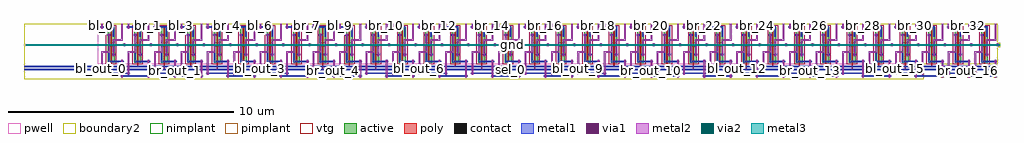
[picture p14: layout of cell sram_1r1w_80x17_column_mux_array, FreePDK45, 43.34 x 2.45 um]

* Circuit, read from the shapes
.subckt sram_1r1w_80x17_column_mux_array bl_0 bl_1 bl_10 bl_11 bl_12 bl_13 bl_14 bl_15 bl_16 bl_17 bl_18 bl_19 bl_2 bl_20 bl_21 bl_22 bl_23 bl_24 bl_25 bl_26 bl_27 bl_28 bl_29 bl_3 bl_30 bl_31 bl_32 bl_33 bl_4 bl_5 bl_6 bl_7 bl_8 bl_9 bl_out_0 bl_out_1 bl_out_10 bl_out_11 bl_out_12 bl_out_13 bl_out_14 bl_out_15 bl_out_16 bl_out_2 bl_out_3 bl_out_4 bl_out_5 bl_out_6 bl_out_7 bl_out_8 bl_out_9 br_0 br_1 br_10 br_11 br_12 br_13 br_14 br_15 br_16 br_17 br_18 br_19 br_2 br_20 br_21 br_22 br_23 br_24 br_25 br_26 br_27 br_28 br_29 br_3 br_30 br_31 br_32 br_33 br_4 br_5 br_6 br_7 br_8 br_9 br_out_0 br_out_1 br_out_10 br_out_11 br_out_12 br_out_13 br_out_14 br_out_15 br_out_16 br_out_2 br_out_3 br_out_4 br_out_5 br_out_6 br_out_7 br_out_8 br_out_9 gnd sel_0 sel_1
M1 br_0 sel_0 br_out_0 gnd nfet w=0.72u l=0.05u
M2 bl_0 sel_0 bl_out_0 gnd nfet w=0.72u l=0.05u
M3 br_1 sel_1 br_out_0 gnd nfet w=0.72u l=0.05u
M4 bl_1 sel_1 bl_out_0 gnd nfet w=0.72u l=0.05u
M5 br_2 sel_0 br_out_1 gnd nfet w=0.72u l=0.05u
M6 bl_2 sel_0 bl_out_1 gnd nfet w=0.72u l=0.05u
M7 br_3 sel_1 br_out_1 gnd nfet w=0.72u l=0.05u
M8 bl_3 sel_1 bl_out_1 gnd nfet w=0.72u l=0.05u
M9 br_4 sel_0 br_out_2 gnd nfet w=0.72u l=0.05u
M10 bl_4 sel_0 bl_out_2 gnd nfet w=0.72u l=0.05u
M11 br_5 sel_1 br_out_2 gnd nfet w=0.72u l=0.05u
M12 bl_5 sel_1 bl_out_2 gnd nfet w=0.72u l=0.05u
M13 br_6 sel_0 br_out_3 gnd nfet w=0.72u l=0.05u
M14 bl_6 sel_0 bl_out_3 gnd nfet w=0.72u l=0.05u
M15 br_7 sel_1 br_out_3 gnd nfet w=0.72u l=0.05u
M16 bl_7 sel_1 bl_out_3 gnd nfet w=0.72u l=0.05u
M17 br_8 sel_0 br_out_4 gnd nfet w=0.72u l=0.05u
M18 bl_8 sel_0 bl_out_4 gnd nfet w=0.72u l=0.05u
M19 br_9 sel_1 br_out_4 gnd nfet w=0.72u l=0.05u
M20 bl_9 sel_1 bl_out_4 gnd nfet w=0.72u l=0.05u
M21 br_10 sel_0 br_out_5 gnd nfet w=0.72u l=0.05u
M22 bl_10 sel_0 bl_out_5 gnd nfet w=0.72u l=0.05u
M23 br_11 sel_1 br_out_5 gnd nfet w=0.72u l=0.05u
M24 bl_11 sel_1 bl_out_5 gnd nfet w=0.72u l=0.05u
M25 br_12 sel_0 br_out_6 gnd nfet w=0.72u l=0.05u
M26 bl_12 sel_0 bl_out_6 gnd nfet w=0.72u l=0.05u
M27 br_13 sel_1 br_out_6 gnd nfet w=0.72u l=0.05u
M28 bl_13 sel_1 bl_out_6 gnd nfet w=0.72u l=0.05u
M29 br_14 sel_0 br_out_7 gnd nfet w=0.72u l=0.05u
M30 bl_14 sel_0 bl_out_7 gnd nfet w=0.72u l=0.05u
M31 br_15 sel_1 br_out_7 gnd nfet w=0.72u l=0.05u
M32 bl_15 sel_1 bl_out_7 gnd nfet w=0.72u l=0.05u
M33 br_16 sel_0 br_out_8 gnd nfet w=0.72u l=0.05u
M34 bl_16 sel_0 bl_out_8 gnd nfet w=0.72u l=0.05u
M35 br_17 sel_1 br_out_8 gnd nfet w=0.72u l=0.05u
M36 bl_17 sel_1 bl_out_8 gnd nfet w=0.72u l=0.05u
M37 br_18 sel_0 br_out_9 gnd nfet w=0.72u l=0.05u
M38 bl_18 sel_0 bl_out_9 gnd nfet w=0.72u l=0.05u
M39 br_19 sel_1 br_out_9 gnd nfet w=0.72u l=0.05u
M40 bl_19 sel_1 bl_out_9 gnd nfet w=0.72u l=0.05u
M41 br_20 sel_0 br_out_10 gnd nfet w=0.72u l=0.05u
M42 bl_20 sel_0 bl_out_10 gnd nfet w=0.72u l=0.05u
M43 br_21 sel_1 br_out_10 gnd nfet w=0.72u l=0.05u
M44 bl_21 sel_1 bl_out_10 gnd nfet w=0.72u l=0.05u
M45 br_22 sel_0 br_out_11 gnd nfet w=0.72u l=0.05u
M46 bl_22 sel_0 bl_out_11 gnd nfet w=0.72u l=0.05u
M47 br_23 sel_1 br_out_11 gnd nfet w=0.72u l=0.05u
M48 bl_23 sel_1 bl_out_11 gnd nfet w=0.72u l=0.05u
M49 br_24 sel_0 br_out_12 gnd nfet w=0.72u l=0.05u
M50 bl_24 sel_0 bl_out_12 gnd nfet w=0.72u l=0.05u
M51 br_25 sel_1 br_out_12 gnd nfet w=0.72u l=0.05u
M52 bl_25 sel_1 bl_out_12 gnd nfet w=0.72u l=0.05u
M53 br_26 sel_0 br_out_13 gnd nfet w=0.72u l=0.05u
M54 bl_26 sel_0 bl_out_13 gnd nfet w=0.72u l=0.05u
M55 br_27 sel_1 br_out_13 gnd nfet w=0.72u l=0.05u
M56 bl_27 sel_1 bl_out_13 gnd nfet w=0.72u l=0.05u
M57 br_28 sel_0 br_out_14 gnd nfet w=0.72u l=0.05u
M58 bl_28 sel_0 bl_out_14 gnd nfet w=0.72u l=0.05u
M59 br_29 sel_1 br_out_14 gnd nfet w=0.72u l=0.05u
M60 bl_29 sel_1 bl_out_14 gnd nfet w=0.72u l=0.05u
M61 br_30 sel_0 br_out_15 gnd nfet w=0.72u l=0.05u
M62 bl_30 sel_0 bl_out_15 gnd nfet w=0.72u l=0.05u
M63 br_31 sel_1 br_out_15 gnd nfet w=0.72u l=0.05u
M64 bl_31 sel_1 bl_out_15 gnd nfet w=0.72u l=0.05u
M65 br_32 sel_0 br_out_16 gnd nfet w=0.72u l=0.05u
M66 bl_32 sel_0 bl_out_16 gnd nfet w=0.72u l=0.05u
M67 br_33 sel_1 br_out_16 gnd nfet w=0.72u l=0.05u
M68 bl_33 sel_1 bl_out_16 gnd nfet w=0.72u l=0.05u
.ends

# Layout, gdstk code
import gdstk
lib = gdstk.Library(unit=1e-6, precision=5e-10)
def R(c, l, rs):  # rectangles x0, y0, x1, y1
    for r in rs: c.add(gdstk.rectangle(r[:2], r[2:], *l))
def A(c, l, x, y, w, h, nx, ny, dx, dy):  # array of equal rectangles
    R(c, l, [(x+i*dx, y+j*dy, x+i*dx+w, y+j*dy+h) for i in range(nx) for j in range(ny)])
active = (1, 0)
pwell = (2, 0)
nimplant = (4, 0)
pimplant = (5, 0)
vtg = (6, 0)
poly = (9, 0)
contact = (10, 0)
metal1 = (11, 0)
via1 = (12, 0)
metal2 = (13, 0)
via2 = (14, 0)
metal3 = (15, 0)
boundary2 = (239, 0)

sram_1r1w_80x17_contact_ = lib.new_cell('sram_1r1w_80x17_contact_10')
R(sram_1r1w_80x17_contact_, active, [(0,0.0225,0.09,0.1125)])
R(sram_1r1w_80x17_contact_, pwell, [(-0.055,-0.0325,0.145,0.1675)])
R(sram_1r1w_80x17_contact_, nimplant, [(0,0.0225,0.09,0.1125)])
R(sram_1r1w_80x17_contact_, contact, [(0.0125,0.035,0.0775,0.1)])
R(sram_1r1w_80x17_contact_, metal1, [(0.0125,0,0.0775,0.135)])
R(sram_1r1w_80x17_contact_, boundary2, [(-0.055,-0.0325,0.145,0.1675)])

sram_1r1w_80x17_nmos_m1_ = lib.new_cell('sram_1r1w_80x17_nmos_m1_w0_720_sm1_dm1')
R(sram_1r1w_80x17_nmos_m1_, active, [(0,0,0.305,0.72)])
R(sram_1r1w_80x17_nmos_m1_, pwell, [(-0.08,-0.08,0.385,0.8)])
R(sram_1r1w_80x17_nmos_m1_, nimplant, [(0,0,0.305,0.72)])
R(sram_1r1w_80x17_nmos_m1_, vtg, [(-0.08,-0.08,0.385,0.8)])
R(sram_1r1w_80x17_nmos_m1_, poly, [(0.1275,-0.055,0.1775,0.775), (0.1275,-0.055,0.1775,0.775)])
R(sram_1r1w_80x17_nmos_m1_, metal1, [(0.0125,0.2925,0.0775,0.4275), (0.2275,0.2925,0.2925,0.4275)])
R(sram_1r1w_80x17_nmos_m1_, boundary2, [(-0.08,-0.08,0.385,0.8)])
sram_1r1w_80x17_nmos_m1_.add(gdstk.Reference(sram_1r1w_80x17_contact_, (0,0.2925)))
sram_1r1w_80x17_nmos_m1_.add(gdstk.Reference(sram_1r1w_80x17_contact_, (0.215,0.2925)))
sram_1r1w_80x17_nmos_m1_.add(gdstk.Label('G', (0.1525,0.36), layer=9, texttype=0))
sram_1r1w_80x17_nmos_m1_.add(gdstk.Label('S', (0.045,0.36), layer=11, texttype=0))
sram_1r1w_80x17_nmos_m1_.add(gdstk.Label('D', (0.26,0.36), layer=11, texttype=0))

c_sram_1r1w_80x17_contact_ = lib.new_cell('sram_1r1w_80x17_contact_17')
R(c_sram_1r1w_80x17_contact_, metal1, [(0,0.035,0.135,0.1)])
R(c_sram_1r1w_80x17_contact_, via1, [(0.035,0.035,0.1,0.1)])
R(c_sram_1r1w_80x17_contact_, metal2, [(0.0325,0,0.1025,0.135)])
R(c_sram_1r1w_80x17_contact_, boundary2, [(0,0,0.135,0.135)])

c_sram_1r1w_80x17_contact__ = lib.new_cell('sram_1r1w_80x17_contact_24')
R(c_sram_1r1w_80x17_contact__, active, [(0.0225,0,0.1125,0.09)])
R(c_sram_1r1w_80x17_contact__, pwell, [(-0.0325,-0.055,0.1675,0.145)])
R(c_sram_1r1w_80x17_contact__, pimplant, [(0.0225,0,0.1125,0.09)])
R(c_sram_1r1w_80x17_contact__, contact, [(0.035,0.0125,0.1,0.0775)])
R(c_sram_1r1w_80x17_contact__, metal1, [(0,0.0125,0.135,0.0775)])
R(c_sram_1r1w_80x17_contact__, boundary2, [(-0.0325,-0.055,0.1675,0.145)])

sram_1r1w_80x17_column_m = lib.new_cell('sram_1r1w_80x17_column_mux')
R(sram_1r1w_80x17_column_m, pwell, [(0,0,1.175,1.8)])
R(sram_1r1w_80x17_column_m, poly, [(0.5625,0.025,0.6125,0.08), (0.5625,0.8,0.6125,0.94)])
R(sram_1r1w_80x17_column_m, metal1, [(0.4475,0.1075,0.5125,0.1725), (0.48,0.1075,1.07,0.1725), (0.4475,0.14,0.5125,0.44), (1.1425,0.8375,1.2075,0.9025), (0.6625,1.3,0.7275,1.66), (0.14,1.6275,0.695,1.6925), (0.6625,1.6275,0.7275,1.6925)])
R(sram_1r1w_80x17_column_m, metal2, [(0.14,0,0.21,0.14), (1.035,0,1.105,0.14), (0.14,0.14,0.21,0.55), (0.66,0.44,0.73,1.085), (0.14,0.515,0.21,0.585), (0.175,0.515,0.48,0.585), (0.445,0.515,0.515,0.585), (0.445,0.55,0.515,1.3), (0.66,1.05,0.73,1.12), (0.695,1.05,1.07,1.12), (1.035,1.05,1.105,1.12), (1.035,1.085,1.105,1.66), (0.14,1.66,0.21,1.8), (1.035,1.66,1.105,1.8)])
R(sram_1r1w_80x17_column_m, boundary2, [(0,0,1.175,1.8)])
sram_1r1w_80x17_column_m.add(gdstk.Reference(sram_1r1w_80x17_nmos_m1_, (0.435,0.08)))
sram_1r1w_80x17_column_m.add(gdstk.Reference(sram_1r1w_80x17_nmos_m1_, (0.435,0.94)))
sram_1r1w_80x17_column_m.add(gdstk.Reference(c_sram_1r1w_80x17_contact_, (0.1075,1.5925)))
sram_1r1w_80x17_column_m.add(gdstk.Reference(c_sram_1r1w_80x17_contact_, (1.0025,0.0725)))
sram_1r1w_80x17_column_m.add(gdstk.Reference(c_sram_1r1w_80x17_contact_, (0.4125,1.2325)))
sram_1r1w_80x17_column_m.add(gdstk.Reference(c_sram_1r1w_80x17_contact_, (0.6275,0.3725)))
sram_1r1w_80x17_column_m.add(gdstk.Reference(c_sram_1r1w_80x17_contact__, (1.1075,0.825)))
sram_1r1w_80x17_column_m.add(gdstk.Reference(c_sram_1r1w_80x17_contact_, (1.1075,0.8025)))
sram_1r1w_80x17_column_m.add(gdstk.Label('sel', (0.5875,0.0525), layer=9, texttype=0))
sram_1r1w_80x17_column_m.add(gdstk.Label('bl', (0.175,1.73), layer=13, texttype=0))
sram_1r1w_80x17_column_m.add(gdstk.Label('br', (1.07,1.73), layer=13, texttype=0))
sram_1r1w_80x17_column_m.add(gdstk.Label('bl_out', (0.175,0.07), layer=13, texttype=0))
sram_1r1w_80x17_column_m.add(gdstk.Label('br_out', (1.07,0.07), layer=13, texttype=0))
sram_1r1w_80x17_column_m.add(gdstk.Label('gnd', (1.175,0.87), layer=11, texttype=0))

c_sram_1r1w_80x17_contact___ = lib.new_cell('sram_1r1w_80x17_contact_25')
R(c_sram_1r1w_80x17_contact___, poly, [(0.03,0,0.105,0.075)])
R(c_sram_1r1w_80x17_contact___, contact, [(0.035,0.005,0.1,0.07)])
R(c_sram_1r1w_80x17_contact___, metal1, [(0,0.005,0.135,0.07)])
R(c_sram_1r1w_80x17_contact___, boundary2, [(0,0,0.135,0.075)])

c_sram_1r1w_80x17_contact____ = lib.new_cell('sram_1r1w_80x17_contact_15')
R(c_sram_1r1w_80x17_contact____, metal1, [(0,0.035,0.135,0.1)])
R(c_sram_1r1w_80x17_contact____, via1, [(0.035,0.035,0.1,0.1)])
R(c_sram_1r1w_80x17_contact____, metal2, [(0.0325,0,0.1025,0.135)])
R(c_sram_1r1w_80x17_contact____, boundary2, [(0,0,0.135,0.135)])

c_sram_1r1w_80x17_contact_____ = lib.new_cell('sram_1r1w_80x17_contact_18')
R(c_sram_1r1w_80x17_contact_____, metal2, [(0.0325,0,0.1025,0.135)])
R(c_sram_1r1w_80x17_contact_____, via2, [(0.035,0.035,0.1,0.1)])
R(c_sram_1r1w_80x17_contact_____, metal3, [(0,0.0325,0.135,0.1025)])
R(c_sram_1r1w_80x17_contact_____, boundary2, [(0,0,0.135,0.135)])

c_sram_1r1w_80x17_column_m = lib.new_cell('sram_1r1w_80x17_column_mux_array')
R(c_sram_1r1w_80x17_column_m, pwell, [(3.285,0.65,43.235,2.45)])
A(c_sram_1r1w_80x17_column_m, poly, 3.8475, 0.3975, 0.05, 0.05, 17, 1, 2.35, 0)
A(c_sram_1r1w_80x17_column_m, poly, 3.8725, 0.3975, 0.035, 0.05, 17, 1, 2.35, 0)
A(c_sram_1r1w_80x17_column_m, poly, 5.0225, 0.5275, 0.05, 0.05, 17, 1, 2.35, 0)
A(c_sram_1r1w_80x17_column_m, poly, 5.0475, 0.5275, 0.035, 0.05, 17, 1, 2.35, 0)
R(c_sram_1r1w_80x17_column_m, poly, [(3.8475,0.4225,3.8975,0.675), (3.8475,0.4225,3.8975,0.675), (6.1975,0.4225,6.2475,0.675), (6.1975,0.4225,6.2475,0.675), (8.5475,0.4225,8.5975,0.675), (8.5475,0.4225,8.5975,0.675), (10.8975,0.4225,10.9475,0.675), (10.8975,0.4225,10.9475,0.675), (13.2475,0.4225,13.2975,0.675), (13.2475,0.4225,13.2975,0.675), (15.5975,0.4225,15.6475,0.675), (15.5975,0.4225,15.6475,0.675), (17.9475,0.4225,17.9975,0.675), (17.9475,0.4225,17.9975,0.675), (20.2975,0.4225,20.3475,0.675), (20.2975,0.4225,20.3475,0.675), (22.6475,0.4225,22.6975,0.675), (22.6475,0.4225,22.6975,0.675), (24.9975,0.4225,25.0475,0.675), (24.9975,0.4225,25.0475,0.675), (27.3475,0.4225,27.3975,0.675), (27.3475,0.4225,27.3975,0.675), (29.6975,0.4225,29.7475,0.675), (29.6975,0.4225,29.7475,0.675), (32.0475,0.4225,32.0975,0.675), (32.0475,0.4225,32.0975,0.675), (34.3975,0.4225,34.4475,0.675), (34.3975,0.4225,34.4475,0.675), (36.7475,0.4225,36.7975,0.675), (36.7475,0.4225,36.7975,0.675), (39.0975,0.4225,39.1475,0.675), (39.0975,0.4225,39.1475,0.675), (41.4475,0.4225,41.4975,0.675), (41.4475,0.4225,41.4975,0.675), (5.0225,0.5525,5.0725,0.675), (5.0225,0.5525,5.0725,0.675), (7.3725,0.5525,7.4225,0.675), (7.3725,0.5525,7.4225,0.675), (9.7225,0.5525,9.7725,0.675), (9.7225,0.5525,9.7725,0.675), (12.0725,0.5525,12.1225,0.675), (12.0725,0.5525,12.1225,0.675), (14.4225,0.5525,14.4725,0.675), (14.4225,0.5525,14.4725,0.675), (16.7725,0.5525,16.8225,0.675), (16.7725,0.5525,16.8225,0.675), (19.1225,0.5525,19.1725,0.675), (19.1225,0.5525,19.1725,0.675), (21.4725,0.5525,21.5225,0.675), (21.4725,0.5525,21.5225,0.675), (23.8225,0.5525,23.8725,0.675), (23.8225,0.5525,23.8725,0.675), (26.1725,0.5525,26.2225,0.675), (26.1725,0.5525,26.2225,0.675), (28.5225,0.5525,28.5725,0.675), (28.5225,0.5525,28.5725,0.675), (30.8725,0.5525,30.9225,0.675), (30.8725,0.5525,30.9225,0.675), (33.2225,0.5525,33.2725,0.675), (33.2225,0.5525,33.2725,0.675), (35.5725,0.5525,35.6225,0.675), (35.5725,0.5525,35.6225,0.675), (37.9225,0.5525,37.9725,0.675), (37.9225,0.5525,37.9725,0.675), (40.2725,0.5525,40.3225,0.675), (40.2725,0.5525,40.3225,0.675), (42.6225,0.5525,42.6725,0.675), (42.6225,0.5525,42.6725,0.675)])
A(c_sram_1r1w_80x17_column_m, metal1, 4.355, 0.0975, 1.175, 0.065, 17, 1, 2.35, 0)
A(c_sram_1r1w_80x17_column_m, metal1, 3.46, 0.2275, 1.175, 0.065, 17, 1, 2.35, 0)
R(c_sram_1r1w_80x17_column_m, metal1, [(0,0.39,43.235,0.455), (0,0.52,43.235,0.585)])
A(c_sram_1r1w_80x17_column_m, metal2, 4.32, 0.13, 0.07, 0.52, 34, 1, 1.175, 0)
A(c_sram_1r1w_80x17_column_m, metal2, 3.425, 0.26, 0.07, 0.39, 34, 1, 1.175, 0)
R(c_sram_1r1w_80x17_column_m, metal2, [(3.425,2.31,3.495,2.45), (4.32,2.31,4.39,2.45), (4.6,2.31,4.67,2.45), (5.495,2.31,5.565,2.45), (5.775,2.31,5.845,2.45), (6.67,2.31,6.74,2.45), (6.95,2.31,7.02,2.45), (7.845,2.31,7.915,2.45), (8.125,2.31,8.195,2.45), (9.02,2.31,9.09,2.45), (9.3,2.31,9.37,2.45), (10.195,2.31,10.265,2.45), (10.475,2.31,10.545,2.45), (11.37,2.31,11.44,2.45), (11.65,2.31,11.72,2.45), (12.545,2.31,12.615,2.45), (12.825,2.31,12.895,2.45), (13.72,2.31,13.79,2.45), (14,2.31,14.07,2.45), (14.895,2.31,14.965,2.45), (15.175,2.31,15.245,2.45), (16.07,2.31,16.14,2.45), (16.35,2.31,16.42,2.45), (17.245,2.31,17.315,2.45), (17.525,2.31,17.595,2.45), (18.42,2.31,18.49,2.45), (18.7,2.31,18.77,2.45), (19.595,2.31,19.665,2.45), (19.875,2.31,19.945,2.45), (20.77,2.31,20.84,2.45), (21.05,2.31,21.12,2.45), (21.945,2.31,22.015,2.45), (22.225,2.31,22.295,2.45), (23.12,2.31,23.19,2.45), (23.4,2.31,23.47,2.45), (24.295,2.31,24.365,2.45), (24.575,2.31,24.645,2.45), (25.47,2.31,25.54,2.45), (25.75,2.31,25.82,2.45), (26.645,2.31,26.715,2.45), (26.925,2.31,26.995,2.45), (27.82,2.31,27.89,2.45), (28.1,2.31,28.17,2.45), (28.995,2.31,29.065,2.45), (29.275,2.31,29.345,2.45), (30.17,2.31,30.24,2.45), (30.45,2.31,30.52,2.45), (31.345,2.31,31.415,2.45), (31.625,2.31,31.695,2.45), (32.52,2.31,32.59,2.45), (32.8,2.31,32.87,2.45), (33.695,2.31,33.765,2.45), (33.975,2.31,34.045,2.45), (34.87,2.31,34.94,2.45), (35.15,2.31,35.22,2.45), (36.045,2.31,36.115,2.45), (36.325,2.31,36.395,2.45), (37.22,2.31,37.29,2.45), (37.5,2.31,37.57,2.45), (38.395,2.31,38.465,2.45), (38.675,2.31,38.745,2.45), (39.57,2.31,39.64,2.45), (39.85,2.31,39.92,2.45), (40.745,2.31,40.815,2.45), (41.025,2.31,41.095,2.45), (41.92,2.31,41.99,2.45), (42.2,2.31,42.27,2.45), (43.095,2.31,43.165,2.45)])
R(c_sram_1r1w_80x17_column_m, metal3, [(0.0675,1.485,43.335,1.555)])
R(c_sram_1r1w_80x17_column_m, boundary2, [(0,0,39.95,2.45)])
c_sram_1r1w_80x17_column_m.add(gdstk.Reference(sram_1r1w_80x17_column_m, (3.285,0.65)))
c_sram_1r1w_80x17_column_m.add(gdstk.Reference(sram_1r1w_80x17_column_m, (4.46,0.65)))
c_sram_1r1w_80x17_column_m.add(gdstk.Reference(sram_1r1w_80x17_column_m, (5.635,0.65)))
c_sram_1r1w_80x17_column_m.add(gdstk.Reference(sram_1r1w_80x17_column_m, (6.81,0.65)))
c_sram_1r1w_80x17_column_m.add(gdstk.Reference(sram_1r1w_80x17_column_m, (7.985,0.65)))
c_sram_1r1w_80x17_column_m.add(gdstk.Reference(sram_1r1w_80x17_column_m, (9.16,0.65)))
c_sram_1r1w_80x17_column_m.add(gdstk.Reference(sram_1r1w_80x17_column_m, (10.335,0.65)))
c_sram_1r1w_80x17_column_m.add(gdstk.Reference(sram_1r1w_80x17_column_m, (11.51,0.65)))
c_sram_1r1w_80x17_column_m.add(gdstk.Reference(sram_1r1w_80x17_column_m, (12.685,0.65)))
c_sram_1r1w_80x17_column_m.add(gdstk.Reference(sram_1r1w_80x17_column_m, (13.86,0.65)))
c_sram_1r1w_80x17_column_m.add(gdstk.Reference(sram_1r1w_80x17_column_m, (15.035,0.65)))
c_sram_1r1w_80x17_column_m.add(gdstk.Reference(sram_1r1w_80x17_column_m, (16.21,0.65)))
c_sram_1r1w_80x17_column_m.add(gdstk.Reference(sram_1r1w_80x17_column_m, (17.385,0.65)))
c_sram_1r1w_80x17_column_m.add(gdstk.Reference(sram_1r1w_80x17_column_m, (18.56,0.65)))
c_sram_1r1w_80x17_column_m.add(gdstk.Reference(sram_1r1w_80x17_column_m, (19.735,0.65)))
c_sram_1r1w_80x17_column_m.add(gdstk.Reference(sram_1r1w_80x17_column_m, (20.91,0.65)))
c_sram_1r1w_80x17_column_m.add(gdstk.Reference(sram_1r1w_80x17_column_m, (22.085,0.65)))
c_sram_1r1w_80x17_column_m.add(gdstk.Reference(sram_1r1w_80x17_column_m, (23.26,0.65)))
c_sram_1r1w_80x17_column_m.add(gdstk.Reference(sram_1r1w_80x17_column_m, (24.435,0.65)))
c_sram_1r1w_80x17_column_m.add(gdstk.Reference(sram_1r1w_80x17_column_m, (25.61,0.65)))
c_sram_1r1w_80x17_column_m.add(gdstk.Reference(sram_1r1w_80x17_column_m, (26.785,0.65)))
c_sram_1r1w_80x17_column_m.add(gdstk.Reference(sram_1r1w_80x17_column_m, (27.96,0.65)))
c_sram_1r1w_80x17_column_m.add(gdstk.Reference(sram_1r1w_80x17_column_m, (29.135,0.65)))
c_sram_1r1w_80x17_column_m.add(gdstk.Reference(sram_1r1w_80x17_column_m, (30.31,0.65)))
c_sram_1r1w_80x17_column_m.add(gdstk.Reference(sram_1r1w_80x17_column_m, (31.485,0.65)))
c_sram_1r1w_80x17_column_m.add(gdstk.Reference(sram_1r1w_80x17_column_m, (32.66,0.65)))
c_sram_1r1w_80x17_column_m.add(gdstk.Reference(sram_1r1w_80x17_column_m, (33.835,0.65)))
c_sram_1r1w_80x17_column_m.add(gdstk.Reference(sram_1r1w_80x17_column_m, (35.01,0.65)))
c_sram_1r1w_80x17_column_m.add(gdstk.Reference(sram_1r1w_80x17_column_m, (36.185,0.65)))
c_sram_1r1w_80x17_column_m.add(gdstk.Reference(sram_1r1w_80x17_column_m, (37.36,0.65)))
c_sram_1r1w_80x17_column_m.add(gdstk.Reference(sram_1r1w_80x17_column_m, (38.535,0.65)))
c_sram_1r1w_80x17_column_m.add(gdstk.Reference(sram_1r1w_80x17_column_m, (39.71,0.65)))
c_sram_1r1w_80x17_column_m.add(gdstk.Reference(sram_1r1w_80x17_column_m, (40.885,0.65)))
c_sram_1r1w_80x17_column_m.add(gdstk.Reference(sram_1r1w_80x17_column_m, (42.06,0.65)))
c_sram_1r1w_80x17_column_m.add(gdstk.Reference(c_sram_1r1w_80x17_contact___, (3.84,0.385)))
c_sram_1r1w_80x17_column_m.add(gdstk.Reference(c_sram_1r1w_80x17_contact___, (5.015,0.515)))
c_sram_1r1w_80x17_column_m.add(gdstk.Reference(c_sram_1r1w_80x17_contact___, (6.19,0.385)))
c_sram_1r1w_80x17_column_m.add(gdstk.Reference(c_sram_1r1w_80x17_contact___, (7.365,0.515)))
c_sram_1r1w_80x17_column_m.add(gdstk.Reference(c_sram_1r1w_80x17_contact___, (8.54,0.385)))
c_sram_1r1w_80x17_column_m.add(gdstk.Reference(c_sram_1r1w_80x17_contact___, (9.715,0.515)))
c_sram_1r1w_80x17_column_m.add(gdstk.Reference(c_sram_1r1w_80x17_contact___, (10.89,0.385)))
c_sram_1r1w_80x17_column_m.add(gdstk.Reference(c_sram_1r1w_80x17_contact___, (12.065,0.515)))
c_sram_1r1w_80x17_column_m.add(gdstk.Reference(c_sram_1r1w_80x17_contact___, (13.24,0.385)))
c_sram_1r1w_80x17_column_m.add(gdstk.Reference(c_sram_1r1w_80x17_contact___, (14.415,0.515)))
c_sram_1r1w_80x17_column_m.add(gdstk.Reference(c_sram_1r1w_80x17_contact___, (15.59,0.385)))
c_sram_1r1w_80x17_column_m.add(gdstk.Reference(c_sram_1r1w_80x17_contact___, (16.765,0.515)))
c_sram_1r1w_80x17_column_m.add(gdstk.Reference(c_sram_1r1w_80x17_contact___, (17.94,0.385)))
c_sram_1r1w_80x17_column_m.add(gdstk.Reference(c_sram_1r1w_80x17_contact___, (19.115,0.515)))
c_sram_1r1w_80x17_column_m.add(gdstk.Reference(c_sram_1r1w_80x17_contact___, (20.29,0.385)))
c_sram_1r1w_80x17_column_m.add(gdstk.Reference(c_sram_1r1w_80x17_contact___, (21.465,0.515)))
c_sram_1r1w_80x17_column_m.add(gdstk.Reference(c_sram_1r1w_80x17_contact___, (22.64,0.385)))
c_sram_1r1w_80x17_column_m.add(gdstk.Reference(c_sram_1r1w_80x17_contact___, (23.815,0.515)))
c_sram_1r1w_80x17_column_m.add(gdstk.Reference(c_sram_1r1w_80x17_contact___, (24.99,0.385)))
c_sram_1r1w_80x17_column_m.add(gdstk.Reference(c_sram_1r1w_80x17_contact___, (26.165,0.515)))
c_sram_1r1w_80x17_column_m.add(gdstk.Reference(c_sram_1r1w_80x17_contact___, (27.34,0.385)))
c_sram_1r1w_80x17_column_m.add(gdstk.Reference(c_sram_1r1w_80x17_contact___, (28.515,0.515)))
c_sram_1r1w_80x17_column_m.add(gdstk.Reference(c_sram_1r1w_80x17_contact___, (29.69,0.385)))
c_sram_1r1w_80x17_column_m.add(gdstk.Reference(c_sram_1r1w_80x17_contact___, (30.865,0.515)))
c_sram_1r1w_80x17_column_m.add(gdstk.Reference(c_sram_1r1w_80x17_contact___, (32.04,0.385)))
c_sram_1r1w_80x17_column_m.add(gdstk.Reference(c_sram_1r1w_80x17_contact___, (33.215,0.515)))
c_sram_1r1w_80x17_column_m.add(gdstk.Reference(c_sram_1r1w_80x17_contact___, (34.39,0.385)))
c_sram_1r1w_80x17_column_m.add(gdstk.Reference(c_sram_1r1w_80x17_contact___, (35.565,0.515)))
c_sram_1r1w_80x17_column_m.add(gdstk.Reference(c_sram_1r1w_80x17_contact___, (36.74,0.385)))
c_sram_1r1w_80x17_column_m.add(gdstk.Reference(c_sram_1r1w_80x17_contact___, (37.915,0.515)))
c_sram_1r1w_80x17_column_m.add(gdstk.Reference(c_sram_1r1w_80x17_contact___, (39.09,0.385)))
c_sram_1r1w_80x17_column_m.add(gdstk.Reference(c_sram_1r1w_80x17_contact___, (40.265,0.515)))
c_sram_1r1w_80x17_column_m.add(gdstk.Reference(c_sram_1r1w_80x17_contact___, (41.44,0.385)))
c_sram_1r1w_80x17_column_m.add(gdstk.Reference(c_sram_1r1w_80x17_contact___, (42.615,0.515)))
c_sram_1r1w_80x17_column_m.add(gdstk.Reference(c_sram_1r1w_80x17_contact____, (3.3925,0.1925)))
c_sram_1r1w_80x17_column_m.add(gdstk.Reference(c_sram_1r1w_80x17_contact____, (4.2875,0.0625)))
c_sram_1r1w_80x17_column_m.add(gdstk.Reference(c_sram_1r1w_80x17_contact____, (4.5675,0.1925)))
c_sram_1r1w_80x17_column_m.add(gdstk.Reference(c_sram_1r1w_80x17_contact____, (5.4625,0.0625)))
c_sram_1r1w_80x17_column_m.add(gdstk.Reference(c_sram_1r1w_80x17_contact____, (5.7425,0.1925)))
c_sram_1r1w_80x17_column_m.add(gdstk.Reference(c_sram_1r1w_80x17_contact____, (6.6375,0.0625)))
c_sram_1r1w_80x17_column_m.add(gdstk.Reference(c_sram_1r1w_80x17_contact____, (6.9175,0.1925)))
c_sram_1r1w_80x17_column_m.add(gdstk.Reference(c_sram_1r1w_80x17_contact____, (7.8125,0.0625)))
c_sram_1r1w_80x17_column_m.add(gdstk.Reference(c_sram_1r1w_80x17_contact____, (8.0925,0.1925)))
c_sram_1r1w_80x17_column_m.add(gdstk.Reference(c_sram_1r1w_80x17_contact____, (8.9875,0.0625)))
c_sram_1r1w_80x17_column_m.add(gdstk.Reference(c_sram_1r1w_80x17_contact____, (9.2675,0.1925)))
c_sram_1r1w_80x17_column_m.add(gdstk.Reference(c_sram_1r1w_80x17_contact____, (10.1625,0.0625)))
c_sram_1r1w_80x17_column_m.add(gdstk.Reference(c_sram_1r1w_80x17_contact____, (10.4425,0.1925)))
c_sram_1r1w_80x17_column_m.add(gdstk.Reference(c_sram_1r1w_80x17_contact____, (11.3375,0.0625)))
c_sram_1r1w_80x17_column_m.add(gdstk.Reference(c_sram_1r1w_80x17_contact____, (11.6175,0.1925)))
c_sram_1r1w_80x17_column_m.add(gdstk.Reference(c_sram_1r1w_80x17_contact____, (12.5125,0.0625)))
c_sram_1r1w_80x17_column_m.add(gdstk.Reference(c_sram_1r1w_80x17_contact____, (12.7925,0.1925)))
c_sram_1r1w_80x17_column_m.add(gdstk.Reference(c_sram_1r1w_80x17_contact____, (13.6875,0.0625)))
c_sram_1r1w_80x17_column_m.add(gdstk.Reference(c_sram_1r1w_80x17_contact____, (13.9675,0.1925)))
c_sram_1r1w_80x17_column_m.add(gdstk.Reference(c_sram_1r1w_80x17_contact____, (14.8625,0.0625)))
c_sram_1r1w_80x17_column_m.add(gdstk.Reference(c_sram_1r1w_80x17_contact____, (15.1425,0.1925)))
c_sram_1r1w_80x17_column_m.add(gdstk.Reference(c_sram_1r1w_80x17_contact____, (16.0375,0.0625)))
c_sram_1r1w_80x17_column_m.add(gdstk.Reference(c_sram_1r1w_80x17_contact____, (16.3175,0.1925)))
c_sram_1r1w_80x17_column_m.add(gdstk.Reference(c_sram_1r1w_80x17_contact____, (17.2125,0.0625)))
c_sram_1r1w_80x17_column_m.add(gdstk.Reference(c_sram_1r1w_80x17_contact____, (17.4925,0.1925)))
c_sram_1r1w_80x17_column_m.add(gdstk.Reference(c_sram_1r1w_80x17_contact____, (18.3875,0.0625)))
c_sram_1r1w_80x17_column_m.add(gdstk.Reference(c_sram_1r1w_80x17_contact____, (18.6675,0.1925)))
c_sram_1r1w_80x17_column_m.add(gdstk.Reference(c_sram_1r1w_80x17_contact____, (19.5625,0.0625)))
c_sram_1r1w_80x17_column_m.add(gdstk.Reference(c_sram_1r1w_80x17_contact____, (19.8425,0.1925)))
c_sram_1r1w_80x17_column_m.add(gdstk.Reference(c_sram_1r1w_80x17_contact____, (20.7375,0.0625)))
c_sram_1r1w_80x17_column_m.add(gdstk.Reference(c_sram_1r1w_80x17_contact____, (21.0175,0.1925)))
c_sram_1r1w_80x17_column_m.add(gdstk.Reference(c_sram_1r1w_80x17_contact____, (21.9125,0.0625)))
c_sram_1r1w_80x17_column_m.add(gdstk.Reference(c_sram_1r1w_80x17_contact____, (22.1925,0.1925)))
c_sram_1r1w_80x17_column_m.add(gdstk.Reference(c_sram_1r1w_80x17_contact____, (23.0875,0.0625)))
c_sram_1r1w_80x17_column_m.add(gdstk.Reference(c_sram_1r1w_80x17_contact____, (23.3675,0.1925)))
c_sram_1r1w_80x17_column_m.add(gdstk.Reference(c_sram_1r1w_80x17_contact____, (24.2625,0.0625)))
c_sram_1r1w_80x17_column_m.add(gdstk.Reference(c_sram_1r1w_80x17_contact____, (24.5425,0.1925)))
c_sram_1r1w_80x17_column_m.add(gdstk.Reference(c_sram_1r1w_80x17_contact____, (25.4375,0.0625)))
c_sram_1r1w_80x17_column_m.add(gdstk.Reference(c_sram_1r1w_80x17_contact____, (25.7175,0.1925)))
c_sram_1r1w_80x17_column_m.add(gdstk.Reference(c_sram_1r1w_80x17_contact____, (26.6125,0.0625)))
c_sram_1r1w_80x17_column_m.add(gdstk.Reference(c_sram_1r1w_80x17_contact____, (26.8925,0.1925)))
c_sram_1r1w_80x17_column_m.add(gdstk.Reference(c_sram_1r1w_80x17_contact____, (27.7875,0.0625)))
c_sram_1r1w_80x17_column_m.add(gdstk.Reference(c_sram_1r1w_80x17_contact____, (28.0675,0.1925)))
c_sram_1r1w_80x17_column_m.add(gdstk.Reference(c_sram_1r1w_80x17_contact____, (28.9625,0.0625)))
c_sram_1r1w_80x17_column_m.add(gdstk.Reference(c_sram_1r1w_80x17_contact____, (29.2425,0.1925)))
c_sram_1r1w_80x17_column_m.add(gdstk.Reference(c_sram_1r1w_80x17_contact____, (30.1375,0.0625)))
c_sram_1r1w_80x17_column_m.add(gdstk.Reference(c_sram_1r1w_80x17_contact____, (30.4175,0.1925)))
c_sram_1r1w_80x17_column_m.add(gdstk.Reference(c_sram_1r1w_80x17_contact____, (31.3125,0.0625)))
c_sram_1r1w_80x17_column_m.add(gdstk.Reference(c_sram_1r1w_80x17_contact____, (31.5925,0.1925)))
c_sram_1r1w_80x17_column_m.add(gdstk.Reference(c_sram_1r1w_80x17_contact____, (32.4875,0.0625)))
c_sram_1r1w_80x17_column_m.add(gdstk.Reference(c_sram_1r1w_80x17_contact____, (32.7675,0.1925)))
c_sram_1r1w_80x17_column_m.add(gdstk.Reference(c_sram_1r1w_80x17_contact____, (33.6625,0.0625)))
c_sram_1r1w_80x17_column_m.add(gdstk.Reference(c_sram_1r1w_80x17_contact____, (33.9425,0.1925)))
c_sram_1r1w_80x17_column_m.add(gdstk.Reference(c_sram_1r1w_80x17_contact____, (34.8375,0.0625)))
c_sram_1r1w_80x17_column_m.add(gdstk.Reference(c_sram_1r1w_80x17_contact____, (35.1175,0.1925)))
c_sram_1r1w_80x17_column_m.add(gdstk.Reference(c_sram_1r1w_80x17_contact____, (36.0125,0.0625)))
c_sram_1r1w_80x17_column_m.add(gdstk.Reference(c_sram_1r1w_80x17_contact____, (36.2925,0.1925)))
c_sram_1r1w_80x17_column_m.add(gdstk.Reference(c_sram_1r1w_80x17_contact____, (37.1875,0.0625)))
c_sram_1r1w_80x17_column_m.add(gdstk.Reference(c_sram_1r1w_80x17_contact____, (37.4675,0.1925)))
c_sram_1r1w_80x17_column_m.add(gdstk.Reference(c_sram_1r1w_80x17_contact____, (38.3625,0.0625)))
c_sram_1r1w_80x17_column_m.add(gdstk.Reference(c_sram_1r1w_80x17_contact____, (38.6425,0.1925)))
c_sram_1r1w_80x17_column_m.add(gdstk.Reference(c_sram_1r1w_80x17_contact____, (39.5375,0.0625)))
c_sram_1r1w_80x17_column_m.add(gdstk.Reference(c_sram_1r1w_80x17_contact____, (39.8175,0.1925)))
c_sram_1r1w_80x17_column_m.add(gdstk.Reference(c_sram_1r1w_80x17_contact____, (40.7125,0.0625)))
c_sram_1r1w_80x17_column_m.add(gdstk.Reference(c_sram_1r1w_80x17_contact____, (40.9925,0.1925)))
c_sram_1r1w_80x17_column_m.add(gdstk.Reference(c_sram_1r1w_80x17_contact____, (41.8875,0.0625)))
c_sram_1r1w_80x17_column_m.add(gdstk.Reference(c_sram_1r1w_80x17_contact____, (42.1675,0.1925)))
c_sram_1r1w_80x17_column_m.add(gdstk.Reference(c_sram_1r1w_80x17_contact____, (43.0625,0.0625)))
c_sram_1r1w_80x17_column_m.add(gdstk.Reference(c_sram_1r1w_80x17_contact_, (4.3925,1.4525)))
c_sram_1r1w_80x17_column_m.add(gdstk.Reference(c_sram_1r1w_80x17_contact_____, (4.3925,1.4525)))
c_sram_1r1w_80x17_column_m.add(gdstk.Reference(c_sram_1r1w_80x17_contact_, (5.5675,1.4525)))
c_sram_1r1w_80x17_column_m.add(gdstk.Reference(c_sram_1r1w_80x17_contact_____, (5.5675,1.4525)))
c_sram_1r1w_80x17_column_m.add(gdstk.Reference(c_sram_1r1w_80x17_contact_, (6.7425,1.4525)))
c_sram_1r1w_80x17_column_m.add(gdstk.Reference(c_sram_1r1w_80x17_contact_____, (6.7425,1.4525)))
c_sram_1r1w_80x17_column_m.add(gdstk.Reference(c_sram_1r1w_80x17_contact_, (7.9175,1.4525)))
c_sram_1r1w_80x17_column_m.add(gdstk.Reference(c_sram_1r1w_80x17_contact_____, (7.9175,1.4525)))
c_sram_1r1w_80x17_column_m.add(gdstk.Reference(c_sram_1r1w_80x17_contact_, (9.0925,1.4525)))
c_sram_1r1w_80x17_column_m.add(gdstk.Reference(c_sram_1r1w_80x17_contact_____, (9.0925,1.4525)))
c_sram_1r1w_80x17_column_m.add(gdstk.Reference(c_sram_1r1w_80x17_contact_, (10.2675,1.4525)))
c_sram_1r1w_80x17_column_m.add(gdstk.Reference(c_sram_1r1w_80x17_contact_____, (10.2675,1.4525)))
c_sram_1r1w_80x17_column_m.add(gdstk.Reference(c_sram_1r1w_80x17_contact_, (11.4425,1.4525)))
c_sram_1r1w_80x17_column_m.add(gdstk.Reference(c_sram_1r1w_80x17_contact_____, (11.4425,1.4525)))
c_sram_1r1w_80x17_column_m.add(gdstk.Reference(c_sram_1r1w_80x17_contact_, (12.6175,1.4525)))
c_sram_1r1w_80x17_column_m.add(gdstk.Reference(c_sram_1r1w_80x17_contact_____, (12.6175,1.4525)))
c_sram_1r1w_80x17_column_m.add(gdstk.Reference(c_sram_1r1w_80x17_contact_, (13.7925,1.4525)))
c_sram_1r1w_80x17_column_m.add(gdstk.Reference(c_sram_1r1w_80x17_contact_____, (13.7925,1.4525)))
c_sram_1r1w_80x17_column_m.add(gdstk.Reference(c_sram_1r1w_80x17_contact_, (14.9675,1.4525)))
c_sram_1r1w_80x17_column_m.add(gdstk.Reference(c_sram_1r1w_80x17_contact_____, (14.9675,1.4525)))
c_sram_1r1w_80x17_column_m.add(gdstk.Reference(c_sram_1r1w_80x17_contact_, (16.1425,1.4525)))
c_sram_1r1w_80x17_column_m.add(gdstk.Reference(c_sram_1r1w_80x17_contact_____, (16.1425,1.4525)))
c_sram_1r1w_80x17_column_m.add(gdstk.Reference(c_sram_1r1w_80x17_contact_, (17.3175,1.4525)))
c_sram_1r1w_80x17_column_m.add(gdstk.Reference(c_sram_1r1w_80x17_contact_____, (17.3175,1.4525)))
c_sram_1r1w_80x17_column_m.add(gdstk.Reference(c_sram_1r1w_80x17_contact_, (18.4925,1.4525)))
c_sram_1r1w_80x17_column_m.add(gdstk.Reference(c_sram_1r1w_80x17_contact_____, (18.4925,1.4525)))
c_sram_1r1w_80x17_column_m.add(gdstk.Reference(c_sram_1r1w_80x17_contact_, (19.6675,1.4525)))
c_sram_1r1w_80x17_column_m.add(gdstk.Reference(c_sram_1r1w_80x17_contact_____, (19.6675,1.4525)))
c_sram_1r1w_80x17_column_m.add(gdstk.Reference(c_sram_1r1w_80x17_contact_, (20.8425,1.4525)))
c_sram_1r1w_80x17_column_m.add(gdstk.Reference(c_sram_1r1w_80x17_contact_____, (20.8425,1.4525)))
c_sram_1r1w_80x17_column_m.add(gdstk.Reference(c_sram_1r1w_80x17_contact_, (22.0175,1.4525)))
c_sram_1r1w_80x17_column_m.add(gdstk.Reference(c_sram_1r1w_80x17_contact_____, (22.0175,1.4525)))
c_sram_1r1w_80x17_column_m.add(gdstk.Reference(c_sram_1r1w_80x17_contact_, (23.1925,1.4525)))
c_sram_1r1w_80x17_column_m.add(gdstk.Reference(c_sram_1r1w_80x17_contact_____, (23.1925,1.4525)))
c_sram_1r1w_80x17_column_m.add(gdstk.Reference(c_sram_1r1w_80x17_contact_, (24.3675,1.4525)))
c_sram_1r1w_80x17_column_m.add(gdstk.Reference(c_sram_1r1w_80x17_contact_____, (24.3675,1.4525)))
c_sram_1r1w_80x17_column_m.add(gdstk.Reference(c_sram_1r1w_80x17_contact_, (25.5425,1.4525)))
c_sram_1r1w_80x17_column_m.add(gdstk.Reference(c_sram_1r1w_80x17_contact_____, (25.5425,1.4525)))
c_sram_1r1w_80x17_column_m.add(gdstk.Reference(c_sram_1r1w_80x17_contact_, (26.7175,1.4525)))
c_sram_1r1w_80x17_column_m.add(gdstk.Reference(c_sram_1r1w_80x17_contact_____, (26.7175,1.4525)))
c_sram_1r1w_80x17_column_m.add(gdstk.Reference(c_sram_1r1w_80x17_contact_, (27.8925,1.4525)))
c_sram_1r1w_80x17_column_m.add(gdstk.Reference(c_sram_1r1w_80x17_contact_____, (27.8925,1.4525)))
c_sram_1r1w_80x17_column_m.add(gdstk.Reference(c_sram_1r1w_80x17_contact_, (29.0675,1.4525)))
c_sram_1r1w_80x17_column_m.add(gdstk.Reference(c_sram_1r1w_80x17_contact_____, (29.0675,1.4525)))
c_sram_1r1w_80x17_column_m.add(gdstk.Reference(c_sram_1r1w_80x17_contact_, (30.2425,1.4525)))
c_sram_1r1w_80x17_column_m.add(gdstk.Reference(c_sram_1r1w_80x17_contact_____, (30.2425,1.4525)))
c_sram_1r1w_80x17_column_m.add(gdstk.Reference(c_sram_1r1w_80x17_contact_, (31.4175,1.4525)))
c_sram_1r1w_80x17_column_m.add(gdstk.Reference(c_sram_1r1w_80x17_contact_____, (31.4175,1.4525)))
c_sram_1r1w_80x17_column_m.add(gdstk.Reference(c_sram_1r1w_80x17_contact_, (32.5925,1.4525)))
c_sram_1r1w_80x17_column_m.add(gdstk.Reference(c_sram_1r1w_80x17_contact_____, (32.5925,1.4525)))
c_sram_1r1w_80x17_column_m.add(gdstk.Reference(c_sram_1r1w_80x17_contact_, (33.7675,1.4525)))
c_sram_1r1w_80x17_column_m.add(gdstk.Reference(c_sram_1r1w_80x17_contact_____, (33.7675,1.4525)))
c_sram_1r1w_80x17_column_m.add(gdstk.Reference(c_sram_1r1w_80x17_contact_, (34.9425,1.4525)))
c_sram_1r1w_80x17_column_m.add(gdstk.Reference(c_sram_1r1w_80x17_contact_____, (34.9425,1.4525)))
c_sram_1r1w_80x17_column_m.add(gdstk.Reference(c_sram_1r1w_80x17_contact_, (36.1175,1.4525)))
c_sram_1r1w_80x17_column_m.add(gdstk.Reference(c_sram_1r1w_80x17_contact_____, (36.1175,1.4525)))
c_sram_1r1w_80x17_column_m.add(gdstk.Reference(c_sram_1r1w_80x17_contact_, (37.2925,1.4525)))
c_sram_1r1w_80x17_column_m.add(gdstk.Reference(c_sram_1r1w_80x17_contact_____, (37.2925,1.4525)))
c_sram_1r1w_80x17_column_m.add(gdstk.Reference(c_sram_1r1w_80x17_contact_, (38.4675,1.4525)))
c_sram_1r1w_80x17_column_m.add(gdstk.Reference(c_sram_1r1w_80x17_contact_____, (38.4675,1.4525)))
c_sram_1r1w_80x17_column_m.add(gdstk.Reference(c_sram_1r1w_80x17_contact_, (39.6425,1.4525)))
c_sram_1r1w_80x17_column_m.add(gdstk.Reference(c_sram_1r1w_80x17_contact_____, (39.6425,1.4525)))
c_sram_1r1w_80x17_column_m.add(gdstk.Reference(c_sram_1r1w_80x17_contact_, (40.8175,1.4525)))
c_sram_1r1w_80x17_column_m.add(gdstk.Reference(c_sram_1r1w_80x17_contact_____, (40.8175,1.4525)))
c_sram_1r1w_80x17_column_m.add(gdstk.Reference(c_sram_1r1w_80x17_contact_, (41.9925,1.4525)))
c_sram_1r1w_80x17_column_m.add(gdstk.Reference(c_sram_1r1w_80x17_contact_____, (41.9925,1.4525)))
c_sram_1r1w_80x17_column_m.add(gdstk.Reference(c_sram_1r1w_80x17_contact_, (43.1675,1.4525)))
c_sram_1r1w_80x17_column_m.add(gdstk.Reference(c_sram_1r1w_80x17_contact_____, (43.1675,1.4525)))
c_sram_1r1w_80x17_column_m.add(gdstk.Label('sel_0', (21.6175,0.4225), layer=11, texttype=0))
c_sram_1r1w_80x17_column_m.add(gdstk.Label('sel_1', (21.6175,0.5525), layer=11, texttype=0))
c_sram_1r1w_80x17_column_m.add(gdstk.Label('bl_out_0', (3.46,0.455), layer=13, texttype=0))
c_sram_1r1w_80x17_column_m.add(gdstk.Label('br_out_0', (4.355,0.39), layer=13, texttype=0))
c_sram_1r1w_80x17_column_m.add(gdstk.Label('bl_out_1', (5.81,0.455), layer=13, texttype=0))
c_sram_1r1w_80x17_column_m.add(gdstk.Label('br_out_1', (6.705,0.39), layer=13, texttype=0))
c_sram_1r1w_80x17_column_m.add(gdstk.Label('bl_out_2', (8.16,0.455), layer=13, texttype=0))
c_sram_1r1w_80x17_column_m.add(gdstk.Label('br_out_2', (9.055,0.39), layer=13, texttype=0))
c_sram_1r1w_80x17_column_m.add(gdstk.Label('bl_out_3', (10.51,0.455), layer=13, texttype=0))
c_sram_1r1w_80x17_column_m.add(gdstk.Label('br_out_3', (11.405,0.39), layer=13, texttype=0))
c_sram_1r1w_80x17_column_m.add(gdstk.Label('bl_out_4', (12.86,0.455), layer=13, texttype=0))
c_sram_1r1w_80x17_column_m.add(gdstk.Label('br_out_4', (13.755,0.39), layer=13, texttype=0))
c_sram_1r1w_80x17_column_m.add(gdstk.Label('bl_out_5', (15.21,0.455), layer=13, texttype=0))
c_sram_1r1w_80x17_column_m.add(gdstk.Label('br_out_5', (16.105,0.39), layer=13, texttype=0))
c_sram_1r1w_80x17_column_m.add(gdstk.Label('bl_out_6', (17.56,0.455), layer=13, texttype=0))
c_sram_1r1w_80x17_column_m.add(gdstk.Label('br_out_6', (18.455,0.39), layer=13, texttype=0))
c_sram_1r1w_80x17_column_m.add(gdstk.Label('bl_out_7', (19.91,0.455), layer=13, texttype=0))
c_sram_1r1w_80x17_column_m.add(gdstk.Label('br_out_7', (20.805,0.39), layer=13, texttype=0))
c_sram_1r1w_80x17_column_m.add(gdstk.Label('bl_out_8', (22.26,0.455), layer=13, texttype=0))
c_sram_1r1w_80x17_column_m.add(gdstk.Label('br_out_8', (23.155,0.39), layer=13, texttype=0))
c_sram_1r1w_80x17_column_m.add(gdstk.Label('bl_out_9', (24.61,0.455), layer=13, texttype=0))
c_sram_1r1w_80x17_column_m.add(gdstk.Label('br_out_9', (25.505,0.39), layer=13, texttype=0))
c_sram_1r1w_80x17_column_m.add(gdstk.Label('bl_out_10', (26.96,0.455), layer=13, texttype=0))
c_sram_1r1w_80x17_column_m.add(gdstk.Label('br_out_10', (27.855,0.39), layer=13, texttype=0))
c_sram_1r1w_80x17_column_m.add(gdstk.Label('bl_out_11', (29.31,0.455), layer=13, texttype=0))
c_sram_1r1w_80x17_column_m.add(gdstk.Label('br_out_11', (30.205,0.39), layer=13, texttype=0))
c_sram_1r1w_80x17_column_m.add(gdstk.Label('bl_out_12', (31.66,0.455), layer=13, texttype=0))
c_sram_1r1w_80x17_column_m.add(gdstk.Label('br_out_12', (32.555,0.39), layer=13, texttype=0))
c_sram_1r1w_80x17_column_m.add(gdstk.Label('bl_out_13', (34.01,0.455), layer=13, texttype=0))
c_sram_1r1w_80x17_column_m.add(gdstk.Label('br_out_13', (34.905,0.39), layer=13, texttype=0))
c_sram_1r1w_80x17_column_m.add(gdstk.Label('bl_out_14', (36.36,0.455), layer=13, texttype=0))
c_sram_1r1w_80x17_column_m.add(gdstk.Label('br_out_14', (37.255,0.39), layer=13, texttype=0))
c_sram_1r1w_80x17_column_m.add(gdstk.Label('bl_out_15', (38.71,0.455), layer=13, texttype=0))
c_sram_1r1w_80x17_column_m.add(gdstk.Label('br_out_15', (39.605,0.39), layer=13, texttype=0))
c_sram_1r1w_80x17_column_m.add(gdstk.Label('bl_out_16', (41.06,0.455), layer=13, texttype=0))
c_sram_1r1w_80x17_column_m.add(gdstk.Label('br_out_16', (41.955,0.39), layer=13, texttype=0))
c_sram_1r1w_80x17_column_m.add(gdstk.Label('gnd', (21.701,1.52), layer=15, texttype=0))
c_sram_1r1w_80x17_column_m.add(gdstk.Label('bl_0', (3.46,2.38), layer=13, texttype=0))
c_sram_1r1w_80x17_column_m.add(gdstk.Label('br_0', (4.355,2.38), layer=13, texttype=0))
c_sram_1r1w_80x17_column_m.add(gdstk.Label('bl_1', (4.635,2.38), layer=13, texttype=0))
c_sram_1r1w_80x17_column_m.add(gdstk.Label('br_1', (5.53,2.38), layer=13, texttype=0))
c_sram_1r1w_80x17_column_m.add(gdstk.Label('bl_2', (5.81,2.38), layer=13, texttype=0))
c_sram_1r1w_80x17_column_m.add(gdstk.Label('br_2', (6.705,2.38), layer=13, texttype=0))
c_sram_1r1w_80x17_column_m.add(gdstk.Label('bl_3', (6.985,2.38), layer=13, texttype=0))
c_sram_1r1w_80x17_column_m.add(gdstk.Label('br_3', (7.88,2.38), layer=13, texttype=0))
c_sram_1r1w_80x17_column_m.add(gdstk.Label('bl_4', (8.16,2.38), layer=13, texttype=0))
c_sram_1r1w_80x17_column_m.add(gdstk.Label('br_4', (9.055,2.38), layer=13, texttype=0))
c_sram_1r1w_80x17_column_m.add(gdstk.Label('bl_5', (9.335,2.38), layer=13, texttype=0))
c_sram_1r1w_80x17_column_m.add(gdstk.Label('br_5', (10.23,2.38), layer=13, texttype=0))
c_sram_1r1w_80x17_column_m.add(gdstk.Label('bl_6', (10.51,2.38), layer=13, texttype=0))
c_sram_1r1w_80x17_column_m.add(gdstk.Label('br_6', (11.405,2.38), layer=13, texttype=0))
c_sram_1r1w_80x17_column_m.add(gdstk.Label('bl_7', (11.685,2.38), layer=13, texttype=0))
c_sram_1r1w_80x17_column_m.add(gdstk.Label('br_7', (12.58,2.38), layer=13, texttype=0))
c_sram_1r1w_80x17_column_m.add(gdstk.Label('bl_8', (12.86,2.38), layer=13, texttype=0))
c_sram_1r1w_80x17_column_m.add(gdstk.Label('br_8', (13.755,2.38), layer=13, texttype=0))
c_sram_1r1w_80x17_column_m.add(gdstk.Label('bl_9', (14.035,2.38), layer=13, texttype=0))
c_sram_1r1w_80x17_column_m.add(gdstk.Label('br_9', (14.93,2.38), layer=13, texttype=0))
c_sram_1r1w_80x17_column_m.add(gdstk.Label('bl_10', (15.21,2.38), layer=13, texttype=0))
c_sram_1r1w_80x17_column_m.add(gdstk.Label('br_10', (16.105,2.38), layer=13, texttype=0))
c_sram_1r1w_80x17_column_m.add(gdstk.Label('bl_11', (16.385,2.38), layer=13, texttype=0))
c_sram_1r1w_80x17_column_m.add(gdstk.Label('br_11', (17.28,2.38), layer=13, texttype=0))
c_sram_1r1w_80x17_column_m.add(gdstk.Label('bl_12', (17.56,2.38), layer=13, texttype=0))
c_sram_1r1w_80x17_column_m.add(gdstk.Label('br_12', (18.455,2.38), layer=13, texttype=0))
c_sram_1r1w_80x17_column_m.add(gdstk.Label('bl_13', (18.735,2.38), layer=13, texttype=0))
c_sram_1r1w_80x17_column_m.add(gdstk.Label('br_13', (19.63,2.38), layer=13, texttype=0))
c_sram_1r1w_80x17_column_m.add(gdstk.Label('bl_14', (19.91,2.38), layer=13, texttype=0))
c_sram_1r1w_80x17_column_m.add(gdstk.Label('br_14', (20.805,2.38), layer=13, texttype=0))
c_sram_1r1w_80x17_column_m.add(gdstk.Label('bl_15', (21.085,2.38), layer=13, texttype=0))
c_sram_1r1w_80x17_column_m.add(gdstk.Label('br_15', (21.98,2.38), layer=13, texttype=0))
c_sram_1r1w_80x17_column_m.add(gdstk.Label('bl_16', (22.26,2.38), layer=13, texttype=0))
c_sram_1r1w_80x17_column_m.add(gdstk.Label('br_16', (23.155,2.38), layer=13, texttype=0))
c_sram_1r1w_80x17_column_m.add(gdstk.Label('bl_17', (23.435,2.38), layer=13, texttype=0))
c_sram_1r1w_80x17_column_m.add(gdstk.Label('br_17', (24.33,2.38), layer=13, texttype=0))
c_sram_1r1w_80x17_column_m.add(gdstk.Label('bl_18', (24.61,2.38), layer=13, texttype=0))
c_sram_1r1w_80x17_column_m.add(gdstk.Label('br_18', (25.505,2.38), layer=13, texttype=0))
c_sram_1r1w_80x17_column_m.add(gdstk.Label('bl_19', (25.785,2.38), layer=13, texttype=0))
c_sram_1r1w_80x17_column_m.add(gdstk.Label('br_19', (26.68,2.38), layer=13, texttype=0))
c_sram_1r1w_80x17_column_m.add(gdstk.Label('bl_20', (26.96,2.38), layer=13, texttype=0))
c_sram_1r1w_80x17_column_m.add(gdstk.Label('br_20', (27.855,2.38), layer=13, texttype=0))
c_sram_1r1w_80x17_column_m.add(gdstk.Label('bl_21', (28.135,2.38), layer=13, texttype=0))
c_sram_1r1w_80x17_column_m.add(gdstk.Label('br_21', (29.03,2.38), layer=13, texttype=0))
c_sram_1r1w_80x17_column_m.add(gdstk.Label('bl_22', (29.31,2.38), layer=13, texttype=0))
c_sram_1r1w_80x17_column_m.add(gdstk.Label('br_22', (30.205,2.38), layer=13, texttype=0))
c_sram_1r1w_80x17_column_m.add(gdstk.Label('bl_23', (30.485,2.38), layer=13, texttype=0))
c_sram_1r1w_80x17_column_m.add(gdstk.Label('br_23', (31.38,2.38), layer=13, texttype=0))
c_sram_1r1w_80x17_column_m.add(gdstk.Label('bl_24', (31.66,2.38), layer=13, texttype=0))
c_sram_1r1w_80x17_column_m.add(gdstk.Label('br_24', (32.555,2.38), layer=13, texttype=0))
c_sram_1r1w_80x17_column_m.add(gdstk.Label('bl_25', (32.835,2.38), layer=13, texttype=0))
c_sram_1r1w_80x17_column_m.add(gdstk.Label('br_25', (33.73,2.38), layer=13, texttype=0))
c_sram_1r1w_80x17_column_m.add(gdstk.Label('bl_26', (34.01,2.38), layer=13, texttype=0))
c_sram_1r1w_80x17_column_m.add(gdstk.Label('br_26', (34.905,2.38), layer=13, texttype=0))
c_sram_1r1w_80x17_column_m.add(gdstk.Label('bl_27', (35.185,2.38), layer=13, texttype=0))
c_sram_1r1w_80x17_column_m.add(gdstk.Label('br_27', (36.08,2.38), layer=13, texttype=0))
c_sram_1r1w_80x17_column_m.add(gdstk.Label('bl_28', (36.36,2.38), layer=13, texttype=0))
c_sram_1r1w_80x17_column_m.add(gdstk.Label('br_28', (37.255,2.38), layer=13, texttype=0))
c_sram_1r1w_80x17_column_m.add(gdstk.Label('bl_29', (37.535,2.38), layer=13, texttype=0))
c_sram_1r1w_80x17_column_m.add(gdstk.Label('br_29', (38.43,2.38), layer=13, texttype=0))
c_sram_1r1w_80x17_column_m.add(gdstk.Label('bl_30', (38.71,2.38), layer=13, texttype=0))
c_sram_1r1w_80x17_column_m.add(gdstk.Label('br_30', (39.605,2.38), layer=13, texttype=0))
c_sram_1r1w_80x17_column_m.add(gdstk.Label('bl_31', (39.885,2.38), layer=13, texttype=0))
c_sram_1r1w_80x17_column_m.add(gdstk.Label('br_31', (40.78,2.38), layer=13, texttype=0))
c_sram_1r1w_80x17_column_m.add(gdstk.Label('bl_32', (41.06,2.38), layer=13, texttype=0))
c_sram_1r1w_80x17_column_m.add(gdstk.Label('br_32', (41.955,2.38), layer=13, texttype=0))
c_sram_1r1w_80x17_column_m.add(gdstk.Label('bl_33', (42.235,2.38), layer=13, texttype=0))
c_sram_1r1w_80x17_column_m.add(gdstk.Label('br_33', (43.13,2.38), layer=13, texttype=0))

lib.write_gds('sram_1r1w_80x17_column_mux_array.gds')
